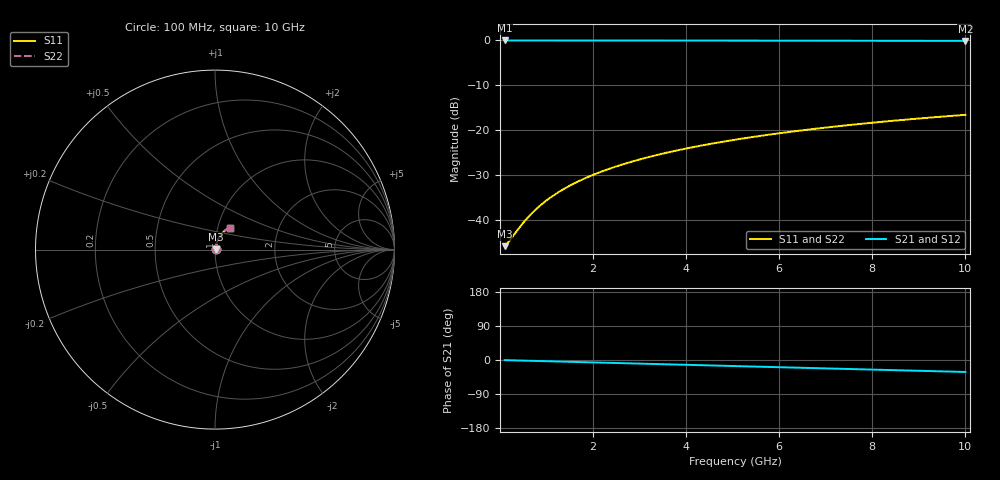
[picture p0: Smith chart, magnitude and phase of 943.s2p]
# Hz S RI R 50.00
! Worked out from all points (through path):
!   100 points, 100 MHz to 10 GHz, reference 50 ohm
!   highest |S21| = -0.04 dB at 100 MHz (marker M1); lowest = -0.1 dB at 10 GHz (marker M2)
!   group delay of S21, straight-line fit = 8.78 ps
!   lowest |S11| = -45.9 dB at 100 MHz (marker M3), VSWR 1.01, Z = 50.5 + j0.155 ohm
!   |S11| at or under -10 dB: start of sweep to end of sweep
!   |S22| runs from -45.9 to -16.6 dB; largest |S21 - S12| = 0
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1e8  0.00482 0.00153  0.9952 -0.00551  0.9952 -0.00551  0.00482 0.00153
2e8  0.00488 0.00307  0.9951 -0.011  0.9951 -0.011  0.00488 0.00307
4e8  0.00502 0.00613  0.9948 -0.022  0.9948 -0.022  0.00502 0.00613
5e8  0.00511 0.00767  0.9947 -0.0276  0.9947 -0.0276  0.00511 0.00767
6e8  0.00522 0.0092  0.9945 -0.0331  0.9945 -0.0331  0.00522 0.0092
7e8  0.00534 0.0107  0.9942 -0.0386  0.9942 -0.0386  0.00534 0.0107
9e8  0.00563 0.0138  0.9937 -0.0496  0.9937 -0.0496  0.00563 0.0138
1.1e9  0.00599 0.0168  0.993 -0.0606  0.993 -0.0606  0.00599 0.0168
1.3e9  0.00641 0.0199  0.9922 -0.0716  0.9922 -0.0716  0.00641 0.0199
1.5e9  0.0069 0.0229  0.9913 -0.0825  0.9913 -0.0825  0.0069 0.0229
1.8e9  0.00776 0.0274  0.9896 -0.099  0.9896 -0.099  0.00776 0.0274
2.1e9  0.00876 0.0319  0.9877 -0.1154  0.9877 -0.1154  0.00876 0.0319
2.5e9  0.0103 0.0378  0.9846 -0.1372  0.9846 -0.1372  0.0103 0.0378
2.9e9  0.0122 0.0437  0.9811 -0.1589  0.9811 -0.1589  0.0122 0.0437
3.4e9  0.0148 0.0508  0.9759 -0.1859  0.9759 -0.1859  0.0148 0.0508
4.2e9  0.0198 0.062  0.966 -0.2287  0.966 -0.2287  0.0198 0.062
5.1e9  0.0267 0.0739  0.9524 -0.2761  0.9524 -0.2761  0.0267 0.0739
5.9e9  0.0337 0.0838  0.9384 -0.3176  0.9384 -0.3176  0.0337 0.0838
6.7e9  0.0415 0.0931  0.9224 -0.3582  0.9224 -0.3582  0.0415 0.0931
7.5e9  0.0502 0.1017  0.9046 -0.3979  0.9046 -0.3979  0.0502 0.1017
8.4e9  0.0607 0.1103  0.8824 -0.4414  0.8824 -0.4414  0.0607 0.1103
1e10  0.0813 0.1229  0.8379 -0.5153  0.8379 -0.5153  0.0813 0.1229
